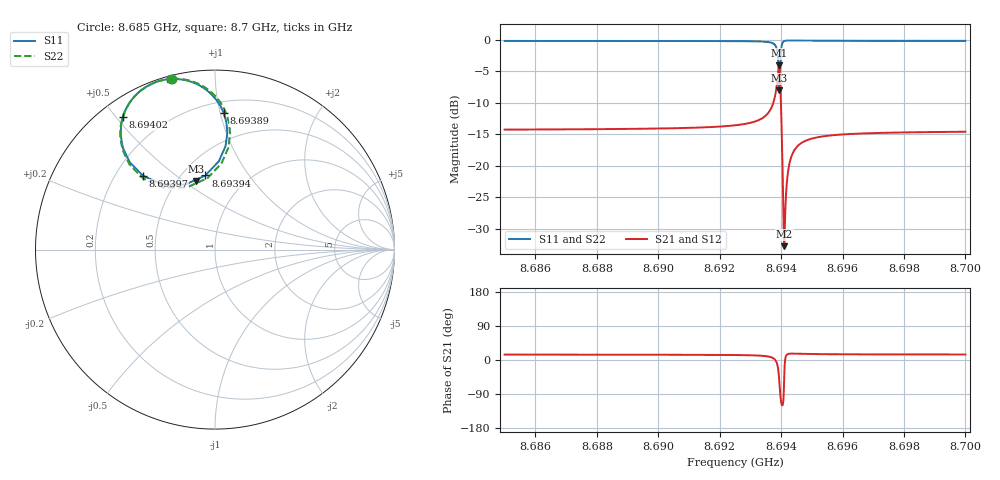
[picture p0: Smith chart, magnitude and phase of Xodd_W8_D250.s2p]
! Sonnet Data File
! From: emgraph Version : 16.52
! From Project: Qubit_Xmon2_brg
! Data is De-embedded
! Data File Written: 10/24/2017 23:45:54
!< HDATE 10/24/2017 16:04:25
!< MDATE 10/24/2017 16:04:25
!< PARAMS
!< Lj = 11.0
!< Gap = 6.0
!< Pwid = 2000.0
!< Airgap = 6.0
!< Width = 10.0
!< Bwid = 8.0
!< Dis1 = 250.0
!< Dis2 = 256.0
!< END PARAMS
# GHZ S MA R 34.70000
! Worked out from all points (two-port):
!   3001 points, 8.685 GHz to 8.7 GHz, reference 34.7 ohm
!   highest |S21| = -4.06 dB at 8.69394 GHz (marker M1); lowest = -32.7 dB at 8.6941 GHz (marker M2)
!   |S21| within 3 dB of the highest: 8.693864 GHz to 8.693978 GHz (113.6 kHz wide, 0.00131 % of centre)
!   lowest |S11| = -8.0 dB at 8.69394 GHz (marker M3), VSWR 2.32, Z = 21.4 + j19.4 ohm
!   |S11| at or under -10 dB: nowhere
!   |S22| runs from -8.4 to -0.1 dB; largest |S21 - S12| = 0
!   S11 on the Smith chart (normalised r, x): 8.685 GHz: 0.02, +0.78; 8.69389 GHz: 0.28, +1.03; 8.69394 GHz: 0.65, +0.64; 8.69397 GHz: 0.31, +0.39; 8.69402 GHz: 0.07, +0.52; 8.7 GHz: 0.01, +0.77
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8.685  0.981 104.4  0.1939 14.2  0.1939 14.2  0.981 104.0
!< P1 F=8.685 Eeff=(5.13559215 -5.6621e-5) Z0=(34.6542042 -9.3986e-5) R=0.0 C=0.0
!< P2 F=8.685 Eeff=(5.13559215 -5.6621e-5) Z0=(34.6542042 -9.3986e-5) R=0.0 C=0.0
8.6875  0.9808 104.3  0.1952 14.1  0.1952 14.1  0.9808 103.9
8.69  0.9802 104.1  0.1979 13.9  0.1979 13.9  0.9802 103.8
8.6925  0.9775 103.4  0.2099 13.2  0.2099 13.2  0.9775 103.0
8.69334  0.9705 102.0  0.2353 11.4  0.2353 11.4  0.9705 101.5
8.693715  0.9445 98.1  0.3011 6.1  0.3011 6.1  0.9443 97.5
8.693825  0.8944 93.3  0.3818 -1.7  0.3818 -1.7  0.8934 92.6
8.69389  0.7619 86.3  0.5057 -16.7  0.5057 -16.7  0.7586 85.2
8.69394  0.4163 97.4  0.6268 -52.7  0.6268 -52.7  0.4 96.0
8.693945  0.3968 105.5  0.6222 -58.3  0.6222 -58.3  0.3788 104.7
8.69397  0.5747 134.3  0.5006 -86.9  0.5006 -86.9  0.5634 135.3
8.693995  0.7966 130.9  0.3205 -107.2  0.3205 -107.2  0.7915 131.5
8.69402  0.8998 124.8  0.1883 -117.4  0.1883 -117.4  0.8972 125.1
8.69406  0.9591 118.5  0.06905 -116.1  0.06905 -116.1  0.9579 118.6
8.6941  0.9779 115.0  0.02305 -51.0  0.02305 -51.0  0.9773 115.0
8.694145  0.9856 112.7  0.04923 6.7  0.04923 6.7  0.9852 112.6
8.69424  0.9894 110.0  0.09448 16.2  0.09448 16.2  0.9893 109.8
8.69438  0.9892 108.2  0.126 16.8  0.126 16.8  0.9892 108.0
8.69461  0.9877 106.9  0.1488 16.3  0.1488 16.3  0.9876 106.6
8.695  0.9859 106.0  0.1646 15.7  0.1646 15.7  0.9859 105.7
8.6975  0.983 104.9  0.1833 14.7  0.1833 14.7  0.983 104.6
8.7  0.9824 104.7  0.1866 14.5  0.1866 14.5  0.9824 104.4
